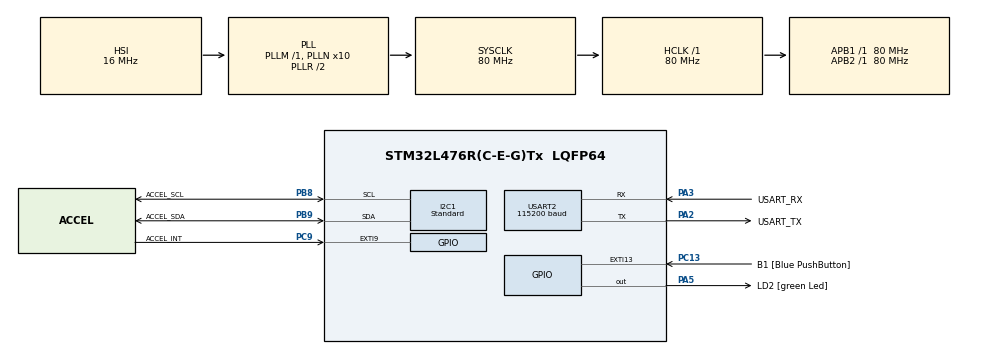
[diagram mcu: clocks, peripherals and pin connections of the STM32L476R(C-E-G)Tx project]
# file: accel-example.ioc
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FREERTOS.Tasks01=defaultTask,24,128,StartDefaultTask,Default,NULL,Dynamic,NULL,NULL
FREERTOS.configENABLE_FPU=1
FREERTOS.configUSE_NEWLIB_REENTRANT=1
I2C1.I2C_Speed_Mode=I2C_Standard
I2C1.Timing=0x10909CEC
Mcu.Family=STM32L4
Mcu.Name=STM32L476R(C-E-G)Tx
Mcu.Package=LQFP64
NVIC.PriorityGroup=NVIC_PRIORITYGROUP_4
NVIC.TIM1_UP_TIM16_IRQn=true\:15\:0\:false\:false\:true\:false\:false\:true\:true
NVIC.TimeBase=TIM1_UP_TIM16_IRQn
NVIC.TimeBaseIP=TIM1
PA13\ (JTMS-SWDIO).GPIO_Label=TMS
PA13\ (JTMS-SWDIO).Mode=Serial_Wire
PA13\ (JTMS-SWDIO).Signal=SYS_JTMS-SWDIO
PA14\ (JTCK-SWCLK).GPIO_Label=TCK
PA14\ (JTCK-SWCLK).Mode=Serial_Wire
PA14\ (JTCK-SWCLK).Signal=SYS_JTCK-SWCLK
PA2.GPIO_Label=USART_TX
PA2.GPIO_Mode=GPIO_MODE_AF_PP
PA2.GPIO_PuPd=GPIO_NOPULL
PA2.GPIO_Speed=GPIO_SPEED_FREQ_VERY_HIGH
PA2.Mode=Asynchronous
PA2.Signal=USART2_TX
PA3.GPIO_Label=USART_RX
PA3.GPIO_Mode=GPIO_MODE_AF_PP
PA3.GPIO_PuPd=GPIO_NOPULL
PA3.GPIO_Speed=GPIO_SPEED_FREQ_VERY_HIGH
PA3.Mode=Asynchronous
PA3.Signal=USART2_RX
PA5.GPIO_Label=LD2 [green Led]
PA5.GPIO_ModeDefaultOutputPP=GPIO_MODE_OUTPUT_PP
PA5.GPIO_PuPd=GPIO_NOPULL
PA5.GPIO_Speed=GPIO_SPEED_FREQ_LOW
PA5.Signal=GPIO_Output
PB3\ (JTDO-TRACESWO).GPIO_Label=SWO
PB3\ (JTDO-TRACESWO).Signal=SYS_JTDO-SWO
PB8.GPIO_Label=ACCEL_SCL
PB8.Mode=I2C
PB8.Signal=I2C1_SCL
PB9.GPIO_Label=ACCEL_SDA
PB9.Mode=I2C
PB9.Signal=I2C1_SDA
PC13.GPIO_Label=B1 [Blue PushButton]
PC13.GPIO_ModeDefaultEXTI=GPIO_MODE_IT_FALLING
PC13.GPIO_PuPd=GPIO_NOPULL
PC13.Signal=GPXTI13
PC14-OSC32_IN\ (PC14).Mode=LSE-External-Oscillator
PC14-OSC32_IN\ (PC14).Signal=RCC_OSC32_IN
PC15-OSC32_OUT\ (PC15).Mode=LSE-External-Oscillator
PC15-OSC32_OUT\ (PC15).Signal=RCC_OSC32_OUT
PC9.GPIO_Label=ACCEL_INT
PC9.Signal=GPXTI9
PH0-OSC_IN\ (PH0).Signal=RCC_OSC_IN
PH1-OSC_OUT\ (PH1).Signal=RCC_OSC_OUT
ProjectManager.HeapSize=0x200
ProjectManager.StackSize=0x400
ProjectManager.TargetToolchain=STM32CubeIDE
RCC.ADCFreq_Value=64000000
RCC.AHBFreq_Value=80000000
RCC.APB1Freq_Value=80000000
RCC.APB1TimFreq_Value=80000000
RCC.APB2Freq_Value=80000000
RCC.APB2TimFreq_Value=80000000
RCC.CortexFreq_Value=80000000
RCC.HCLKFreq_Value=80000000
RCC.HSE_VALUE=8000000
RCC.HSI_VALUE=16000000
RCC.MSI_VALUE=4000000
RCC.PLLN=10
RCC.PLLSourceVirtual=RCC_PLLSOURCE_HSI
RCC.PREFETCH_ENABLE=1
RCC.SYSCLKFreq_VALUE=80000000
RCC.SYSCLKSource=RCC_SYSCLKSOURCE_PLLCLK
RCC.USBFreq_Value=64000000
RCC.VCOOutputFreq_Value=160000000
TIM2.AutoReloadPreload=TIM_AUTORELOAD_PRELOAD_ENABLE
TIM2.ClockDivision=TIM_CLOCKDIVISION_DIV4
TIM2.Period=4294967295
TIM2.Prescaler=9999
USART2.AutoBaudRateEnableParam=UART_ADVFEATURE_AUTOBAUDRATE_DISABLE
USART2.BaudRate=115200
USART2.VirtualMode-Asynchronous=VM_ASYNC
USART2.WordLength=WORDLENGTH_8B
VP_FREERTOS_VS_CMSIS_V2.Mode=CMSIS_V2
VP_SYS_VS_tim1.Mode=TIM1
VP_TIM2_VS_ClockSourceINT.Mode=Internal
board=NUCLEO-L476RG

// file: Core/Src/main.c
/* USER CODE BEGIN Header */
/**
  ******************************************************************************
  * @file           : main.c
  * @brief          : Main program body
  ******************************************************************************
  * @attention
  *
  * Copyright (c) 2023 STMicroelectronics.
  * All rights reserved.
  *
  * This software is licensed under terms that can be found in the LICENSE file
  * in the root directory of this software component.
  * If no LICENSE file comes with this software, it is provided AS-IS.
  *
  ******************************************************************************
  */
/* USER CODE END Header */
#include "main.h"
#include "cmsis_os.h"

/* USER CODE BEGIN Includes */
#include "spatial-lib/include/interface.h"
/* USER CODE END Includes */

I2C_HandleTypeDef hi2c1;

TIM_HandleTypeDef htim2;

UART_HandleTypeDef huart2;

/* Definitions for defaultTask */
osThreadId_t defaultTaskHandle;
const osThreadAttr_t defaultTask_attributes = {
  .name = "defaultTask",
  .stack_size = 128 * 4,
  .priority = (osPriority_t) osPriorityNormal,
};

void SystemClock_Config(void);
static void MX_GPIO_Init(void);
static void MX_USART2_UART_Init(void);
static void MX_I2C1_Init(void);
static void MX_TIM2_Init(void);
void StartDefaultTask(void *argument);

/* USER CODE BEGIN PFP */
//#ifdef __GNUC__
///* With GCC/RAISONANCE, small printf (option LD Linker->Libraries->Small printf
//   set to 'Yes') calls __io_putchar() */
#define PUTCHAR_PROTOTYPE int __io_putchar(int ch)
//#else
//#define PUTCHAR_PROTOTYPE int fputc(int ch, FILE *f)
//#endif /* __GNUC__ */
/* USER CODE END PFP */

/* USER CODE BEGIN 0 */
/**
  * @brief  Retargets the C library printf function to the USART.
  * @param  None
  * @retval None
  */
PUTCHAR_PROTOTYPE {
	/* Place your implementation of fputc here */
	/* e.g. write a character to the USART1 and Loop until the end of transmission */
	HAL_UART_Transmit(&huart2, (uint8_t *)&ch, 1, 20);
	return ch;
}
/* USER CODE END 0 */

int main(void)
{

  /* MCU Configuration--------------------------------------------------------*/

  /* Reset of all peripherals, Initializes the Flash interface and the Systick. */
  HAL_Init();

  /* Configure the system clock */
  SystemClock_Config();

  /* Initialize all configured peripherals */
  MX_GPIO_Init();
  MX_USART2_UART_Init();
  MX_I2C1_Init();
  MX_TIM2_Init();
  /* USER CODE BEGIN 2 */
  printf("Starting kernel...\r\n");
  /* USER CODE END 2 */

  /* Init scheduler */
  osKernelInitialize();

  /* Create the thread(s) */
  /* creation of defaultTask */
  defaultTaskHandle = osThreadNew(StartDefaultTask, NULL, &defaultTask_attributes);

  /* Start scheduler */
  osKernelStart();

  /* We should never get here as control is now taken by the scheduler */
  /* Infinite loop */
  while (1)
  {

  }
}

void SystemClock_Config(void)
{
  RCC_OscInitTypeDef RCC_OscInitStruct = {0};
  RCC_ClkInitTypeDef RCC_ClkInitStruct = {0};

  /** Configure the main internal regulator output voltage
  */
  if (HAL_PWREx_ControlVoltageScaling(PWR_REGULATOR_VOLTAGE_SCALE1) != HAL_OK)
  {
    Error_Handler();
  }

  /** Initializes the RCC Oscillators according to the specified parameters
  * in the RCC_OscInitTypeDef structure.
  */
  RCC_OscInitStruct.OscillatorType = RCC_OSCILLATORTYPE_HSI;
  RCC_OscInitStruct.HSIState = RCC_HSI_ON;
  RCC_OscInitStruct.HSICalibrationValue = RCC_HSICALIBRATION_DEFAULT;
  RCC_OscInitStruct.PLL.PLLState = RCC_PLL_ON;
  RCC_OscInitStruct.PLL.PLLSource = RCC_PLLSOURCE_HSI;
  RCC_OscInitStruct.PLL.PLLM = 1;
  RCC_OscInitStruct.PLL.PLLN = 10;
  RCC_OscInitStruct.PLL.PLLP = RCC_PLLP_DIV7;
  RCC_OscInitStruct.PLL.PLLQ = RCC_PLLQ_DIV2;
  RCC_OscInitStruct.PLL.PLLR = RCC_PLLR_DIV2;
  if (HAL_RCC_OscConfig(&RCC_OscInitStruct) != HAL_OK)
  {
    Error_Handler();
  }

  /** Initializes the CPU, AHB and APB buses clocks
  */
  RCC_ClkInitStruct.ClockType = RCC_CLOCKTYPE_HCLK|RCC_CLOCKTYPE_SYSCLK
                              |RCC_CLOCKTYPE_PCLK1|RCC_CLOCKTYPE_PCLK2;
  RCC_ClkInitStruct.SYSCLKSource = RCC_SYSCLKSOURCE_PLLCLK;
  RCC_ClkInitStruct.AHBCLKDivider = RCC_SYSCLK_DIV1;
  RCC_ClkInitStruct.APB1CLKDivider = RCC_HCLK_DIV1;
  RCC_ClkInitStruct.APB2CLKDivider = RCC_HCLK_DIV1;

  if (HAL_RCC_ClockConfig(&RCC_ClkInitStruct, FLASH_LATENCY_4) != HAL_OK)
  {
    Error_Handler();
  }
}

static void MX_I2C1_Init(void)
{

  hi2c1.Instance = I2C1;
  hi2c1.Init.Timing = 0x10909CEC;
  hi2c1.Init.OwnAddress1 = 0;
  hi2c1.Init.AddressingMode = I2C_ADDRESSINGMODE_7BIT;
  hi2c1.Init.DualAddressMode = I2C_DUALADDRESS_DISABLE;
  hi2c1.Init.OwnAddress2 = 0;
  hi2c1.Init.OwnAddress2Masks = I2C_OA2_NOMASK;
  hi2c1.Init.GeneralCallMode = I2C_GENERALCALL_DISABLE;
  hi2c1.Init.NoStretchMode = I2C_NOSTRETCH_DISABLE;
  if (HAL_I2C_Init(&hi2c1) != HAL_OK)
  {
    Error_Handler();
  }

  /** Configure Analogue filter
  */
  if (HAL_I2CEx_ConfigAnalogFilter(&hi2c1, I2C_ANALOGFILTER_ENABLE) != HAL_OK)
  {
    Error_Handler();
  }

  /** Configure Digital filter
  */
  if (HAL_I2CEx_ConfigDigitalFilter(&hi2c1, 0) != HAL_OK)
  {
    Error_Handler();
  }

}

static void MX_TIM2_Init(void)
{

  TIM_ClockConfigTypeDef sClockSourceConfig = {0};
  TIM_MasterConfigTypeDef sMasterConfig = {0};

  htim2.Instance = TIM2;
  htim2.Init.Prescaler = 9999;
  htim2.Init.CounterMode = TIM_COUNTERMODE_UP;
  htim2.Init.Period = 4294967295;
  htim2.Init.ClockDivision = TIM_CLOCKDIVISION_DIV4;
  htim2.Init.AutoReloadPreload = TIM_AUTORELOAD_PRELOAD_ENABLE;
  if (HAL_TIM_Base_Init(&htim2) != HAL_OK)
  {
    Error_Handler();
  }
  sClockSourceConfig.ClockSource = TIM_CLOCKSOURCE_INTERNAL;
  if (HAL_TIM_ConfigClockSource(&htim2, &sClockSourceConfig) != HAL_OK)
  {
    Error_Handler();
  }
  sMasterConfig.MasterOutputTrigger = TIM_TRGO_RESET;
  sMasterConfig.MasterSlaveMode = TIM_MASTERSLAVEMODE_DISABLE;
  if (HAL_TIMEx_MasterConfigSynchronization(&htim2, &sMasterConfig) != HAL_OK)
  {
    Error_Handler();
  }
  /* USER CODE BEGIN TIM2_Init 2 */
  // Start TIM2
  HAL_TIM_Base_Start(&htim2);
  /* USER CODE END TIM2_Init 2 */

}

static void MX_USART2_UART_Init(void)
{

  huart2.Instance = USART2;
  huart2.Init.BaudRate = 115200;
  huart2.Init.WordLength = UART_WORDLENGTH_8B;
  huart2.Init.StopBits = UART_STOPBITS_1;
  huart2.Init.Parity = UART_PARITY_NONE;
  huart2.Init.Mode = UART_MODE_TX_RX;
  huart2.Init.HwFlowCtl = UART_HWCONTROL_NONE;
  huart2.Init.OverSampling = UART_OVERSAMPLING_16;
  huart2.Init.OneBitSampling = UART_ONE_BIT_SAMPLE_DISABLE;
  huart2.AdvancedInit.AdvFeatureInit = UART_ADVFEATURE_NO_INIT;
  if (HAL_UART_Init(&huart2) != HAL_OK)
  {
    Error_Handler();
  }

}

static void MX_GPIO_Init(void)
{
  GPIO_InitTypeDef GPIO_InitStruct = {0};

  /* GPIO Ports Clock Enable */
  __HAL_RCC_GPIOC_CLK_ENABLE();
  __HAL_RCC_GPIOH_CLK_ENABLE();
  __HAL_RCC_GPIOA_CLK_ENABLE();
  __HAL_RCC_GPIOB_CLK_ENABLE();

  /*Configure GPIO pin Output Level */
  HAL_GPIO_WritePin(LD2_GPIO_Port, LD2_Pin, GPIO_PIN_RESET);

  /*Configure GPIO pin : B1_Pin */
  GPIO_InitStruct.Pin = B1_Pin;
  GPIO_InitStruct.Mode = GPIO_MODE_IT_FALLING;
  GPIO_InitStruct.Pull = GPIO_NOPULL;
  HAL_GPIO_Init(B1_GPIO_Port, &GPIO_InitStruct);

  /*Configure GPIO pin : LD2_Pin */
  GPIO_InitStruct.Pin = LD2_Pin;
  GPIO_InitStruct.Mode = GPIO_MODE_OUTPUT_PP;
  GPIO_InitStruct.Pull = GPIO_NOPULL;
  GPIO_InitStruct.Speed = GPIO_SPEED_FREQ_LOW;
  HAL_GPIO_Init(LD2_GPIO_Port, &GPIO_InitStruct);

  /*Configure GPIO pin : ACCEL_INT_Pin */
  GPIO_InitStruct.Pin = ACCEL_INT_Pin;
  GPIO_InitStruct.Mode = GPIO_MODE_IT_RISING;
  GPIO_InitStruct.Pull = GPIO_NOPULL;
  HAL_GPIO_Init(ACCEL_INT_GPIO_Port, &GPIO_InitStruct);

}

/* USER CODE BEGIN 4 */

// Get stored time in timer 2 in terms of seconds
double get_timestep() {
	long double cur_time = TIM2->CNT;
	// Reset timer for next call
	TIM2->CNT = 0;
	// Division to make time in terms of seconds
	cur_time /= 8000;
	return (double)cur_time;
}
/* USER CODE END 4 */

void StartDefaultTask(void *argument)
{
  /* USER CODE BEGIN 5 */
	init_spatial(&hi2c1, &huart2);
  /* Infinite loop */
  for(;;) {
	  update_spatial(get_timestep());
	  printf("Acceleration x: %.2f, y: %.2f, z: %.2f\r\n", current_acceleration[0], current_acceleration[1], current_acceleration[2]);
	  printf("Speed: %.2f m/s\r\n", current_speed);
	  printf("Trip: %.2f m\r\n", current_distance);
//	  osDelay(1);
//	  HAL_Delay(10);
  }
  /* USER CODE END 5 */
}

void HAL_TIM_PeriodElapsedCallback(TIM_HandleTypeDef *htim)
{
  if (htim->Instance == TIM1) {
    HAL_IncTick();
  }
}

void Error_Handler(void)
{
  __disable_irq();
  while (1)
  {
  }
}
